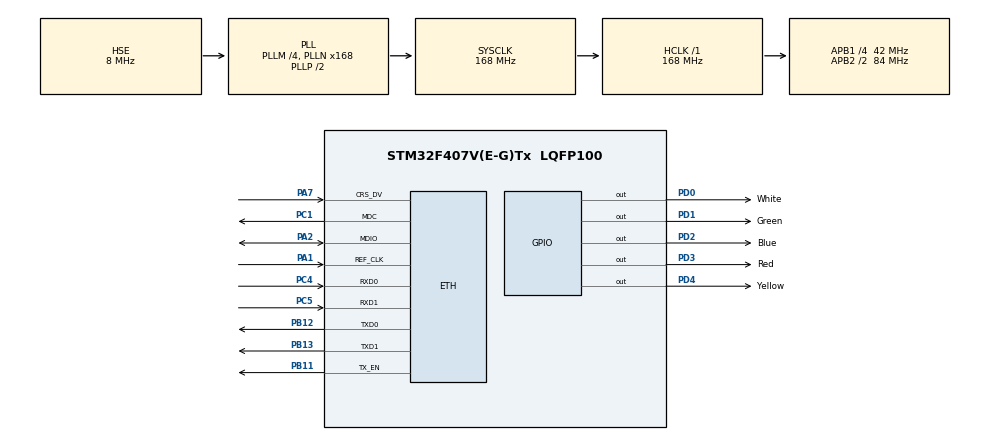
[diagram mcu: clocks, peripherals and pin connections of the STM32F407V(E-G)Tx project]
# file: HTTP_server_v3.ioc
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ETH.MediaInterface=ETH_MEDIA_INTERFACE_RMII
LWIP.GATEWAY_ADDRESS=192.168.018.001
LWIP.IP_ADDRESS=192.168.018.114
LWIP.LWIP_DHCP=0
LWIP.LWIP_HTTPD=1
LWIP.LWIP_HTTPD_CGI=1
LWIP.LWIP_HTTPD_MAX_TAG_NAME_LEN=16
LWIP.LWIP_HTTPD_SSI=1
LWIP.NETMASK_ADDRESS=255.255.255.000
LWIP.Version=v2.1.2_Cube
Mcu.Family=STM32F4
Mcu.Name=STM32F407V(E-G)Tx
Mcu.Package=LQFP100
NVIC.PriorityGroup=NVIC_PRIORITYGROUP_4
PA1.Mode=RMII
PA1.Signal=ETH_REF_CLK
PA13.Mode=Serial_Wire
PA13.Signal=SYS_JTMS-SWDIO
PA14.Mode=Serial_Wire
PA14.Signal=SYS_JTCK-SWCLK
PA2.Mode=RMII
PA2.Signal=ETH_MDIO
PA7.Mode=RMII
PA7.Signal=ETH_CRS_DV
PB11.Mode=RMII
PB11.Signal=ETH_TX_EN
PB12.Mode=RMII
PB12.Signal=ETH_TXD0
PB13.Mode=RMII
PB13.Signal=ETH_TXD1
PC1.Mode=RMII
PC1.Signal=ETH_MDC
PC4.Mode=RMII
PC4.Signal=ETH_RXD0
PC5.Mode=RMII
PC5.Signal=ETH_RXD1
PD0.GPIO_Label=White
PD0.GPIO_PuPd=GPIO_PULLUP
PD0.Signal=GPIO_Output
PD1.GPIO_Label=Green
PD1.GPIO_PuPd=GPIO_PULLUP
PD1.Signal=GPIO_Output
PD2.GPIO_Label=Blue
PD2.GPIO_PuPd=GPIO_PULLUP
PD2.Signal=GPIO_Output
PD3.GPIO_Label=Red
PD3.GPIO_PuPd=GPIO_PULLUP
PD3.Signal=GPIO_Output
PD4.GPIO_Label=Yellow 
PD4.GPIO_PuPd=GPIO_PULLUP
PD4.Signal=GPIO_Output
PH0-OSC_IN.Mode=HSE-External-Oscillator
PH0-OSC_IN.Signal=RCC_OSC_IN
PH1-OSC_OUT.Mode=HSE-External-Oscillator
PH1-OSC_OUT.Signal=RCC_OSC_OUT
ProjectManager.HeapSize=0x200
ProjectManager.StackSize=0x400
ProjectManager.TargetToolchain=STM32CubeIDE
RCC.48MHZClocksFreq_Value=84000000
RCC.AHBFreq_Value=168000000
RCC.APB1CLKDivider=RCC_HCLK_DIV4
RCC.APB1Freq_Value=42000000
RCC.APB1TimFreq_Value=84000000
RCC.APB2CLKDivider=RCC_HCLK_DIV2
RCC.APB2Freq_Value=84000000
RCC.APB2TimFreq_Value=168000000
RCC.CortexFreq_Value=168000000
RCC.HCLKFreq_Value=168000000
RCC.HSE_VALUE=8000000
RCC.HSI_VALUE=16000000
RCC.LSE_VALUE=32768
RCC.PLLM=4
RCC.PLLN=168
RCC.PLLSourceVirtual=RCC_PLLSOURCE_HSE
RCC.SYSCLKFreq_VALUE=168000000
RCC.SYSCLKSource=RCC_SYSCLKSOURCE_PLLCLK
RCC.VCOOutputFreq_Value=336000000
VP_LWIP_VS_Enabled.Mode=Enabled
board=custom

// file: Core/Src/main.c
/* USER CODE BEGIN Header */
/**
  ******************************************************************************
  * @file           : main.c
  * @brief          : Main program body
  ******************************************************************************
  * @attention
  *
  * <h2><center>&copy; Copyright (c) 2021 STMicroelectronics.
  * All rights reserved.</center></h2>
  *
  * This software component is licensed by ST under BSD 3-Clause license,
  * the "License"; You may not use this file except in compliance with the
  * License. You may obtain a copy of the License at:
  *                        opensource.org/licenses/BSD-3-Clause
  *
  ******************************************************************************
  */
/* USER CODE END Header */
#include "main.h"
#include "lwip.h"

/* USER CODE BEGIN Includes */
#include "lwip/apps/httpd.h" // including httpd.h [- HTTPd #1 -]
#include "string.h"  // we include String.h for the strcmp() function [= CGI #1 =]
#include "stdbool.h" // we include this library to be able to use boolean variables for SSI

bool LD1ON = false; // this variable will indicate if the LD1 LED on the board is ON or not
bool LD2ON = false; // this variable will indicate if our LD2 LED on the board is ON or not
bool LD3ON = false; // this variable will indicate if the LD3 LED on the board is ON or not
bool LD4ON = false; // this variable will indicate if the LD4 LED on the board is ON or not
bool LD5ON = false; // this variable will indicate if the LD5 LED on the board is ON or not

/* USER CODE END Includes */

/* USER CODE BEGIN PV */
// just declaring the function for the compiler [= CGI #2 =]
const char* LedCGIhandler(int iIndex, int iNumParams, char *pcParam[],
		char *pcValue[]);

// in our SHTML file <form method="get" action="/leds.cgi"> [= CGI #3 =]
const tCGI LedCGI = { "/leds.cgi", LedCGIhandler };

// [= CGI #4 =]
tCGI theCGItable[1];

// just declaring SSI handler function [* SSI #1 *]
u16_t mySSIHandler(int iIndex, char *pcInsert, int iInsertLen);

// [* SSI #2 *]
#define numSSItags 5 // Указываем количество тэгов

// [* SSI #3 *]
char const *theSSItags[numSSItags] = { "tag1", "tag2", "tag3", "tag4", "tag5" };

/* USER CODE END PV */

void SystemClock_Config(void);
static void MX_GPIO_Init(void);

/* USER CODE BEGIN 0 */
//turning the LED lights off
// the actual function for handling CGI [= CGI #5 =]
const char* LedCGIhandler(int iIndex, int iNumParams, char *pcParam[],
		char *pcValue[]) {
	uint32_t i = 0;
	if (iIndex == 0) {
		//turning the White_Pin lights off
		HAL_GPIO_WritePin(White_GPIO_Port, White_Pin, GPIO_PIN_RESET);
		// we put this variable to false to indicate that the LD1 LED on the board is not ON
		LD1ON = false; //Когда Led is off LD1ON = false!
		HAL_GPIO_WritePin(Green_GPIO_Port, Green_Pin, GPIO_PIN_RESET);
		// we put this variable to false to indicate that the LD2 LED on the board is not ON
		LD2ON = false; //Когда Led is off LD1ON = false!
		HAL_GPIO_WritePin(Blue_GPIO_Port, Blue_Pin, GPIO_PIN_RESET);
		// we put this variable to false to indicate that the LD3 LED on the board is not ON
		LD3ON = false; //Когда Led is off LD1ON = false!
		HAL_GPIO_WritePin(Red_GPIO_Port, Red_Pin, GPIO_PIN_RESET);
		// we put this variable to false to indicate that the LD2 LED on the board is not ON
		LD4ON = false; //Когда Led is off LD1ON = false!
		HAL_GPIO_WritePin(Yellow_GPIO_Port, Yellow_Pin, GPIO_PIN_RESET);
		// we put this variable to false to indicate that the LD2 LED on the board is not ON
		LD5ON = false; //Когда Led is off LD1ON = false!
	}
	for (i = 0; i < iNumParams; i++) {
		if (strcmp(pcParam[i], "led") == 0) {
			if (strcmp(pcValue[i], "1") == 0) {
				HAL_GPIO_WritePin(White_GPIO_Port, White_Pin, GPIO_PIN_SET);
				// LD3 LED (red) on the board is ON!
				LD1ON = true; //Когда Led is ON LD1ON = true!
			} else if (strcmp(pcValue[i], "2") == 0) {
				HAL_GPIO_WritePin(Green_GPIO_Port, Green_Pin, GPIO_PIN_SET);
				// LD2 LED (blue) on the board is ON!
				LD2ON = true; //Когда Led is ON LD1ON = true!
			} else if (strcmp(pcValue[i], "3") == 0) {
				HAL_GPIO_WritePin(Blue_GPIO_Port, Blue_Pin, GPIO_PIN_SET);
				// LD2 LED (blue) on the board is ON!
				LD3ON = true; //Когда Led is ON LD1ON = true!
			} else if (strcmp(pcValue[i], "4") == 0) {
				HAL_GPIO_WritePin(Red_GPIO_Port, Red_Pin, GPIO_PIN_SET);
				// LD2 LED (blue) on the board is ON!
				LD4ON = true; //Когда Led is ON LD1ON = true!
			} else if (strcmp(pcValue[i], "5") == 0) {
				HAL_GPIO_WritePin(Yellow_GPIO_Port, Yellow_Pin, GPIO_PIN_SET);
				// LD2 LED (blue) on the board is ON!
				LD5ON = true; //Когда Led is ON LD1ON = true!
			}
		}
	}
	// the extension .shtml for SSI to work
	return "/redirect.html";

} // END [= CGI #5 =]

// function to initialize CGI [= CGI #6 =]
void myCGIinit(void) {
	//add LED control CGI to the table
	theCGItable[0] = LedCGI;
	//give the table to the HTTP server
	http_set_cgi_handlers(theCGItable, 1);
} // END [= CGI #6 =]

// the actual function for SSI [* SSI #4 *] Прописыаем галочку в боксе!
u16_t mySSIHandler(int iIndex, char *pcInsert, int iInsertLen) {
	if (iIndex == 0) {
		if (LD1ON == false) {
			char myStr1[] = "<input value=\"1\" name=\"led\" type=\"checkbox\">";
			strcpy(pcInsert, myStr1);
			return strlen(myStr1);
		} else if (LD1ON == true) {
			// since the LD3 red LED on the board is ON we make its checkbox checked!
			char myStr1[] ="<input value=\"1\" name=\"led\" type=\"checkbox\" checked>";
			strcpy(pcInsert, myStr1);
			return strlen(myStr1);
		}
	} else if (iIndex == 1) {
		if (LD2ON == false) {
			char myStr2[] = "<input value=\"2\" name=\"led\" type=\"checkbox\">";
			strcpy(pcInsert, myStr2);
			return strlen(myStr2);
		} else if (LD2ON == true) {
			// since the LD2 blue LED on the board is ON we make its checkbox checked!
			char myStr2[] =
					"<input value=\"2\" name=\"led\" type=\"checkbox\" checked>";
			strcpy(pcInsert, myStr2);
			return strlen(myStr2);
		}
	}
	else if (iIndex == 2) {
		if (LD3ON == false) {
			char myStr3[] = "<input value=\"3\" name=\"led\" type=\"checkbox\">";
			strcpy(pcInsert, myStr3);
			return strlen(myStr3);
		} else if (LD3ON == true) {
			// since the LD3 red LED on the board is ON we make its checkbox checked!
			char myStr3[] ="<input value=\"3\" name=\"led\" type=\"checkbox\" checked>";
			strcpy(pcInsert, myStr3);
			return strlen(myStr3);
		}
	}
	else if (iIndex == 3) {
		if (LD4ON == false) {
			char myStr4[] = "<input value=\"4\" name=\"led\" type=\"checkbox\">";
			strcpy(pcInsert, myStr4);
			return strlen(myStr4);
		} else if (LD4ON == true) {
			// since the LD3 red LED on the board is ON we make its checkbox checked!
			char myStr4[] ="<input value=\"4\" name=\"led\" type=\"checkbox\" checked>";
			strcpy(pcInsert, myStr4);
			return strlen(myStr4);
		}
	}
	else if (iIndex == 4) {
		if (LD5ON == false) {
			char myStr5[] = "<input value=\"5\" name=\"led\" type=\"checkbox\">";
			strcpy(pcInsert, myStr5);
			return strlen(myStr5);
		} else if (LD5ON == true) {
			// since the LD3 red LED on the board is ON we make its checkbox checked!
			char myStr5[] ="<input value=\"5\" name=\"led\" type=\"checkbox\" checked>";
			strcpy(pcInsert, myStr5);
			return strlen(myStr5);
		}
	}
	return 0;
}
// function to initialize SSI [* SSI #5 *]
void mySSIinit(void) {
	http_set_ssi_handler(mySSIHandler, (char const**) theSSItags,
	numSSItags);
}

/* USER CODE END 0 */

int main(void)
{
  /* USER CODE BEGIN 1 */
#include "lwip/apps/httpd.h"
  /* USER CODE END 1 */

  /* MCU Configuration--------------------------------------------------------*/

  /* Reset of all peripherals, Initializes the Flash interface and the Systick. */
  HAL_Init();

  /* Configure the system clock */
  SystemClock_Config();

  /* Initialize all configured peripherals */
  MX_GPIO_Init();
  MX_LWIP_Init();
  /* USER CODE BEGIN 2 */
     httpd_init(); // initializing the HTTPd

     myCGIinit(); // initializing CGI  [= CGI #7 =]

     mySSIinit(); // initializing SSI [* SSI #6 *]
  /* USER CODE END 2 */

  /* Infinite loop */
  while (1)
  {

    /* USER CODE BEGIN 3 */
      MX_LWIP_Process(); // starting the LWIP process
/*
		HAL_GPIO_WritePin(White_GPIO_Port, White_Pin, GPIO_PIN_SET);
		HAL_Delay(500);
		HAL_GPIO_WritePin(Green_GPIO_Port, Green_Pin, GPIO_PIN_SET);
		HAL_Delay(500);
		HAL_GPIO_WritePin(Blue_GPIO_Port, Blue_Pin, GPIO_PIN_SET);
		HAL_Delay(500);
		HAL_GPIO_WritePin(Red_GPIO_Port, Red_Pin, GPIO_PIN_SET);
		HAL_Delay(500);
		HAL_GPIO_WritePin(Yellow_GPIO_Port, Yellow_Pin, GPIO_PIN_SET);
		HAL_Delay(500);
*/
  }
  /* USER CODE END 3 */
}

void SystemClock_Config(void)
{
  RCC_OscInitTypeDef RCC_OscInitStruct = {0};
  RCC_ClkInitTypeDef RCC_ClkInitStruct = {0};

  /** Configure the main internal regulator output voltage
  */
  __HAL_RCC_PWR_CLK_ENABLE();
  __HAL_PWR_VOLTAGESCALING_CONFIG(PWR_REGULATOR_VOLTAGE_SCALE1);
  /** Initializes the RCC Oscillators according to the specified parameters
  * in the RCC_OscInitTypeDef structure.
  */
  RCC_OscInitStruct.OscillatorType = RCC_OSCILLATORTYPE_HSE;
  RCC_OscInitStruct.HSEState = RCC_HSE_ON;
  RCC_OscInitStruct.PLL.PLLState = RCC_PLL_ON;
  RCC_OscInitStruct.PLL.PLLSource = RCC_PLLSOURCE_HSE;
  RCC_OscInitStruct.PLL.PLLM = 4;
  RCC_OscInitStruct.PLL.PLLN = 168;
  RCC_OscInitStruct.PLL.PLLP = RCC_PLLP_DIV2;
  RCC_OscInitStruct.PLL.PLLQ = 4;
  if (HAL_RCC_OscConfig(&RCC_OscInitStruct) != HAL_OK)
  {
    Error_Handler();
  }
  /** Initializes the CPU, AHB and APB buses clocks
  */
  RCC_ClkInitStruct.ClockType = RCC_CLOCKTYPE_HCLK|RCC_CLOCKTYPE_SYSCLK
                              |RCC_CLOCKTYPE_PCLK1|RCC_CLOCKTYPE_PCLK2;
  RCC_ClkInitStruct.SYSCLKSource = RCC_SYSCLKSOURCE_PLLCLK;
  RCC_ClkInitStruct.AHBCLKDivider = RCC_SYSCLK_DIV1;
  RCC_ClkInitStruct.APB1CLKDivider = RCC_HCLK_DIV4;
  RCC_ClkInitStruct.APB2CLKDivider = RCC_HCLK_DIV2;

  if (HAL_RCC_ClockConfig(&RCC_ClkInitStruct, FLASH_LATENCY_5) != HAL_OK)
  {
    Error_Handler();
  }
}

static void MX_GPIO_Init(void)
{
  GPIO_InitTypeDef GPIO_InitStruct = {0};

  /* GPIO Ports Clock Enable */
  __HAL_RCC_GPIOH_CLK_ENABLE();
  __HAL_RCC_GPIOC_CLK_ENABLE();
  __HAL_RCC_GPIOA_CLK_ENABLE();
  __HAL_RCC_GPIOB_CLK_ENABLE();
  __HAL_RCC_GPIOD_CLK_ENABLE();

  /*Configure GPIO pin Output Level */
  HAL_GPIO_WritePin(GPIOD, White_Pin|Green_Pin|Blue_Pin|Red_Pin
                          |Yellow_Pin, GPIO_PIN_RESET);

  /*Configure GPIO pins : White_Pin Green_Pin Blue_Pin Red_Pin
                           Yellow_Pin */
  GPIO_InitStruct.Pin = White_Pin|Green_Pin|Blue_Pin|Red_Pin
                          |Yellow_Pin;
  GPIO_InitStruct.Mode = GPIO_MODE_OUTPUT_PP;
  GPIO_InitStruct.Pull = GPIO_PULLUP;
  GPIO_InitStruct.Speed = GPIO_SPEED_FREQ_LOW;
  HAL_GPIO_Init(GPIOD, &GPIO_InitStruct);

}

void Error_Handler(void)
{
  __disable_irq();
  while (1)
  {
  }
}

/************************ (C) COPYRIGHT STMicroelectronics *****END OF FILE****/
